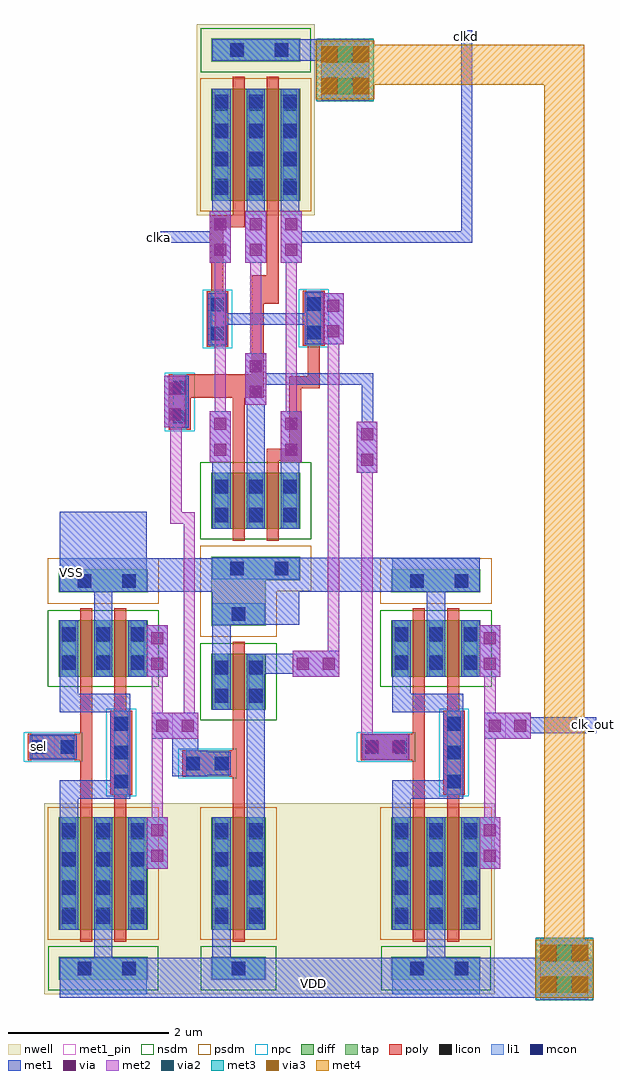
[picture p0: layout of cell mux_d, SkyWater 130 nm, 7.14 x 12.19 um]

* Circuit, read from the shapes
.subckt mux_d VDD VSS clk_out clka clkd sel
XM1 VSS sel n1 VSS sky130_fd_pr__nfet_01v8 w=0.7 l=0.15
XM2 buf_9/vout n1 VSS VSS sky130_fd_pr__nfet_01v8 w=0.7 l=0.15
XM3 n2 buf_9/vout VSS VSS sky130_fd_pr__nfet_01v8 w=0.7 l=0.15
XM4 buf_10/vin buf_9/vout clka VSS sky130_fd_pr__nfet_01v8 w=0.7 l=0.15
XM5 clkd n2 buf_10/vin VSS sky130_fd_pr__nfet_01v8 w=0.7 l=0.15
XM6 VSS buf_10/vin n3 VSS sky130_fd_pr__nfet_01v8 w=0.7 l=0.15
XM7 clk_out n3 VSS VSS sky130_fd_pr__nfet_01v8 w=0.7 l=0.15
XM8 VDD sel n1 VDD sky130_fd_pr__pfet_01v8 w=1.4 l=0.15
XM9 buf_9/vout n1 VDD VDD sky130_fd_pr__pfet_01v8 w=1.4 l=0.15
XM10 n2 buf_9/vout VDD VDD sky130_fd_pr__pfet_01v8 w=1.4 l=0.15
XM11 buf_10/vin n2 clka VDD sky130_fd_pr__pfet_01v8 w=1.4 l=0.15
XM12 clkd buf_9/vout buf_10/vin VDD sky130_fd_pr__pfet_01v8 w=1.4 l=0.15
XM13 VDD buf_10/vin n3 VDD sky130_fd_pr__pfet_01v8 w=1.4 l=0.15
XM14 clk_out n3 VDD VDD sky130_fd_pr__pfet_01v8 w=1.4 l=0.15
.ends

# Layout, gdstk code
from math import pi, radians
import gdstk
lib = gdstk.Library(unit=1e-6, precision=1e-09)
def R(c, l, rs):  # rectangles x0, y0, x1, y1
    for r in rs: c.add(gdstk.rectangle(r[:2], r[2:], *l))
def A(c, l, x, y, w, h, nx, ny, dx, dy):  # array of equal rectangles
    R(c, l, [(x+i*dx, y+j*dy, x+i*dx+w, y+j*dy+h) for i in range(nx) for j in range(ny)])
nwell = (64, 20)
diff = (65, 20)
tap = (65, 44)
poly = (66, 20)
licon = (66, 44)
li1 = (67, 20)
mcon = (67, 44)
met1_pin = (68, 16)
met1 = (68, 20)
via = (68, 44)
met2 = (69, 20)
via2 = (69, 44)
met3 = (70, 20)
via3 = (70, 44)
met4 = (71, 20)
nsdm = (93, 44)
psdm = (94, 20)
npc = (95, 20)

polyconn_cdns_7957030867 = lib.new_cell('polyConn_CDNS_7957030867023')
R(polyconn_cdns_7957030867, poly, [(-0.315,-0.165,0.315,0.165)])
R(polyconn_cdns_7957030867, licon, [(-0.265,-0.085,-0.095,0.085), (0.095,-0.085,0.265,0.085)])
R(polyconn_cdns_7957030867, li1, [(-0.265,-0.165,0.265,0.165)])
R(polyconn_cdns_7957030867, mcon, [(-0.265,-0.085,-0.095,0.085), (0.095,-0.085,0.265,0.085)])
R(polyconn_cdns_7957030867, met1, [(-0.295,-0.145,0.295,0.145)])
R(polyconn_cdns_7957030867, npc, [(-0.365,-0.185,0.365,0.185)])

m1m2_c_cdns_795703086702 = lib.new_cell('M1M2_C_CDNS_7957030867026')
R(m1m2_c_cdns_795703086702, met1, [(-0.3,-0.385,0.3,0.385)])
R(m1m2_c_cdns_795703086702, via, [(-0.235,-0.235,-0.085,-0.085), (0.085,-0.235,0.235,-0.085), (-0.235,0.085,-0.085,0.235), (0.085,0.085,0.235,0.235)])
R(m1m2_c_cdns_795703086702, met2, [(-0.3,-0.385,0.3,0.385)])

nfet_01v8_cdns_795703086 = lib.new_cell('nfet_01v8_CDNS_7957030867024')
R(nfet_01v8_cdns_795703086, diff, [(-0.265,0,0,0.7), (0,0,0.15,0.7), (0.15,0,0.415,0.7)])
R(nfet_01v8_cdns_795703086, tap, [(-0.265,-0.64,0.415,-0.35)])
R(nfet_01v8_cdns_795703086, poly, [(0,-0.15,0.15,-0.095), (0,-0.095,0.15,0), (0,0,0.15,0.7), (0,0.7,0.15,0.795), (0,0.795,0.15,0.85)])
R(nfet_01v8_cdns_795703086, licon, [(-0.01,-0.58,0.16,-0.41), (-0.225,0.095,-0.055,0.265), (0.205,0.095,0.375,0.265), (-0.225,0.435,-0.055,0.605), (0.205,0.435,0.375,0.605)])
R(nfet_01v8_cdns_795703086, li1, [(-0.255,-0.63,0.405,-0.36), (-0.225,0,-0.055,0.7), (0.205,0,0.375,0.7)])
R(nfet_01v8_cdns_795703086, mcon, [(-0.01,-0.58,0.16,-0.41), (-0.225,0.085,-0.055,0.255), (0.205,0.085,0.375,0.255), (-0.225,0.445,-0.055,0.615), (0.205,0.445,0.375,0.615)])
R(nfet_01v8_cdns_795703086, met1, [(-0.255,-0.63,0.405,-0.36), (-0.255,0,-0.025,0.7), (0.175,0,0.405,0.7)])
R(nfet_01v8_cdns_795703086, nsdm, [(-0.405,-0.13,0.555,0.83)])
R(nfet_01v8_cdns_795703086, psdm, [(-0.405,-0.78,0.555,-0.21)])

pfet_01v8_cdns_795703086 = lib.new_cell('pfet_01v8_CDNS_7957030867028')
R(pfet_01v8_cdns_795703086, nwell, [(-0.235,-0.18,0.595,2.21)])
R(pfet_01v8_cdns_795703086, diff, [(-0.055,0,0,1.4), (0,0,0.15,1.4), (0.15,0,0.415,1.4)])
R(pfet_01v8_cdns_795703086, tap, [(-0.055,1.74,0.415,2.03)])
R(pfet_01v8_cdns_795703086, poly, [(0,-0.15,0.15,-0.095), (0,-0.095,0.15,0), (0,0,0.15,1.4), (0,1.4,0.15,1.495), (0,1.495,0.15,1.55)])
A(pfet_01v8_cdns_795703086, licon, 0.205, 0.105, 0.17, 0.17, 1, 4, 0, 0.34)
R(pfet_01v8_cdns_795703086, licon, [(0.095,1.8,0.265,1.97)])
R(pfet_01v8_cdns_795703086, li1, [(0.205,0,0.375,1.4), (-0.045,1.75,0.405,2.02)])
A(pfet_01v8_cdns_795703086, mcon, 0.205, 0.075, 0.17, 0.17, 1, 4, 0, 0.36)
R(pfet_01v8_cdns_795703086, mcon, [(0.095,1.8,0.265,1.97)])
R(pfet_01v8_cdns_795703086, met1, [(0.175,0,0.405,1.4), (-0.045,1.75,0.405,2.02)])
R(pfet_01v8_cdns_795703086, nsdm, [(-0.185,1.61,0.545,2.16)])
R(pfet_01v8_cdns_795703086, psdm, [(-0.065,-0.13,0.555,1.53)])

c_pfet_01v8_cdns_795703086 = lib.new_cell('pfet_01v8_CDNS_7957030867025')
R(c_pfet_01v8_cdns_795703086, nwell, [(-0.445,-0.18,0.595,2.21)])
R(c_pfet_01v8_cdns_795703086, diff, [(-0.265,0,0,1.4), (0,0,0.15,1.4), (0.15,0,0.415,1.4)])
R(c_pfet_01v8_cdns_795703086, tap, [(-0.265,1.74,0.415,2.03)])
R(c_pfet_01v8_cdns_795703086, poly, [(0,-0.15,0.15,-0.095), (0,-0.095,0.15,0), (0,0,0.15,1.4), (0,1.4,0.15,1.495), (0,1.495,0.15,1.55)])
A(c_pfet_01v8_cdns_795703086, licon, -0.225, 0.105, 0.17, 0.17, 1, 4, 0, 0.34)
A(c_pfet_01v8_cdns_795703086, licon, 0.205, 0.105, 0.17, 0.17, 1, 4, 0, 0.34)
R(c_pfet_01v8_cdns_795703086, licon, [(-0.01,1.8,0.16,1.97)])
R(c_pfet_01v8_cdns_795703086, li1, [(-0.225,0,-0.055,1.4), (0.205,0,0.375,1.4), (-0.255,1.75,0.405,2.02)])
A(c_pfet_01v8_cdns_795703086, mcon, -0.225, 0.075, 0.17, 0.17, 1, 4, 0, 0.36)
A(c_pfet_01v8_cdns_795703086, mcon, 0.205, 0.075, 0.17, 0.17, 1, 4, 0, 0.36)
R(c_pfet_01v8_cdns_795703086, mcon, [(-0.01,1.8,0.16,1.97)])
R(c_pfet_01v8_cdns_795703086, met1, [(-0.255,0,-0.025,1.4), (0.175,0,0.405,1.4), (-0.255,1.75,0.405,2.02)])
R(c_pfet_01v8_cdns_795703086, nsdm, [(-0.395,1.61,0.545,2.16)])
R(c_pfet_01v8_cdns_795703086, psdm, [(-0.405,-0.13,0.555,1.53)])

m1m2_c_cdns_795703086708 = lib.new_cell('M1M2_C_CDNS_7957030867088')
R(m1m2_c_cdns_795703086708, met1, [(-0.13,-0.32,0.13,0.32)])
R(m1m2_c_cdns_795703086708, via, [(-0.075,-0.235,0.075,-0.085), (-0.075,0.085,0.075,0.235)])
R(m1m2_c_cdns_795703086708, met2, [(-0.13,-0.32,0.13,0.32)])

m1m2_c_cdns_795703086701 = lib.new_cell('M1M2_C_CDNS_79570308670118')
R(m1m2_c_cdns_795703086701, met1, [(-0.29,-0.16,0.29,0.16)])
R(m1m2_c_cdns_795703086701, via, [(-0.235,-0.075,-0.085,0.075), (0.085,-0.075,0.235,0.075)])
R(m1m2_c_cdns_795703086701, met2, [(-0.29,-0.16,0.29,0.16)])

c_polyconn_cdns_7957030867 = lib.new_cell('polyConn_CDNS_7957030867026')
R(c_polyconn_cdns_7957030867, poly, [(-0.135,-0.525,0.135,0.525)])
A(c_polyconn_cdns_7957030867, licon, -0.085, -0.445, 0.17, 0.17, 1, 3, 0, 0.36)
R(c_polyconn_cdns_7957030867, li1, [(-0.085,-0.525,0.085,0.525)])
A(c_polyconn_cdns_7957030867, mcon, -0.085, -0.445, 0.17, 0.17, 1, 3, 0, 0.36)
R(c_polyconn_cdns_7957030867, met1, [(-0.115,-0.505,0.115,0.505)])
R(c_polyconn_cdns_7957030867, npc, [(-0.185,-0.545,0.185,0.545)])

c_nfet_01v8_cdns_795703086 = lib.new_cell('nfet_01v8_CDNS_7957030867030')
R(c_nfet_01v8_cdns_795703086, diff, [(-0.225,0,0,0.7), (0,0,0.15,0.7), (0.15,0,0.415,0.7)])
R(c_nfet_01v8_cdns_795703086, tap, [(-0.225,-0.64,0.415,-0.35)])
R(c_nfet_01v8_cdns_795703086, poly, [(0,-0.15,0.15,-0.095), (0,-0.095,0.15,0), (0,0,0.15,0.7), (0,0.7,0.15,0.795), (0,0.795,0.15,0.85)])
R(c_nfet_01v8_cdns_795703086, licon, [(0.01,-0.58,0.18,-0.41), (-0.225,0.095,-0.055,0.265), (0.205,0.095,0.375,0.265), (-0.225,0.435,-0.055,0.605), (0.205,0.435,0.375,0.605)])
R(c_nfet_01v8_cdns_795703086, li1, [(-0.215,-0.63,0.405,-0.36), (-0.225,0,-0.055,0.7), (0.205,0,0.375,0.7)])
R(c_nfet_01v8_cdns_795703086, mcon, [(0.01,-0.58,0.18,-0.41), (-0.225,0.085,-0.055,0.255), (0.205,0.085,0.375,0.255), (-0.225,0.445,-0.055,0.615), (0.205,0.445,0.375,0.615)])
R(c_nfet_01v8_cdns_795703086, met1, [(-0.215,-0.63,0.405,-0.36), (-0.255,0,-0.025,0.7), (0.175,0,0.405,0.7)])
R(c_nfet_01v8_cdns_795703086, nsdm, [(-0.235,-0.13,0.555,0.83)])
R(c_nfet_01v8_cdns_795703086, psdm, [(-0.365,-0.78,0.555,-0.21)])

c_pfet_01v8_cdns_795703086_ = lib.new_cell('pfet_01v8_CDNS_7957030867029')
R(c_pfet_01v8_cdns_795703086_, nwell, [(-0.405,-0.18,0.595,2.21)])
R(c_pfet_01v8_cdns_795703086_, diff, [(-0.225,0,0,1.4), (0,0,0.15,1.4), (0.15,0,0.415,1.4)])
R(c_pfet_01v8_cdns_795703086_, tap, [(-0.225,1.74,0.415,2.03)])
R(c_pfet_01v8_cdns_795703086_, poly, [(0,-0.15,0.15,-0.095), (0,-0.095,0.15,0), (0,0,0.15,1.4), (0,1.4,0.15,1.495), (0,1.495,0.15,1.55)])
A(c_pfet_01v8_cdns_795703086_, licon, -0.225, 0.105, 0.17, 0.17, 1, 4, 0, 0.34)
A(c_pfet_01v8_cdns_795703086_, licon, 0.205, 0.105, 0.17, 0.17, 1, 4, 0, 0.34)
R(c_pfet_01v8_cdns_795703086_, licon, [(0.01,1.8,0.18,1.97)])
R(c_pfet_01v8_cdns_795703086_, li1, [(-0.225,0,-0.055,1.4), (0.205,0,0.375,1.4), (-0.215,1.75,0.405,2.02)])
A(c_pfet_01v8_cdns_795703086_, mcon, -0.225, 0.075, 0.17, 0.17, 1, 4, 0, 0.36)
A(c_pfet_01v8_cdns_795703086_, mcon, 0.205, 0.075, 0.17, 0.17, 1, 4, 0, 0.36)
R(c_pfet_01v8_cdns_795703086_, mcon, [(0.01,1.8,0.18,1.97)])
R(c_pfet_01v8_cdns_795703086_, met1, [(-0.255,0,-0.025,1.4), (0.175,0,0.405,1.4), (-0.215,1.75,0.405,2.02)])
R(c_pfet_01v8_cdns_795703086_, nsdm, [(-0.355,1.61,0.545,2.16)])
R(c_pfet_01v8_cdns_795703086_, psdm, [(-0.235,-0.13,0.555,1.53)])

c_nfet_01v8_cdns_795703086_ = lib.new_cell('nfet_01v8_CDNS_7957030867027')
R(c_nfet_01v8_cdns_795703086_, diff, [(-0.055,0,0,0.7), (0,0,0.15,0.7), (0.15,0,0.415,0.7)])
R(c_nfet_01v8_cdns_795703086_, tap, [(-0.055,-0.64,0.415,-0.35)])
R(c_nfet_01v8_cdns_795703086_, poly, [(0,-0.15,0.15,-0.095), (0,-0.095,0.15,0), (0,0,0.15,0.7), (0,0.7,0.15,0.795), (0,0.795,0.15,0.85)])
R(c_nfet_01v8_cdns_795703086_, licon, [(0.095,-0.58,0.265,-0.41), (0.205,0.095,0.375,0.265), (0.205,0.435,0.375,0.605)])
R(c_nfet_01v8_cdns_795703086_, li1, [(-0.045,-0.63,0.405,-0.36), (0.205,0,0.375,0.7)])
R(c_nfet_01v8_cdns_795703086_, mcon, [(0.095,-0.58,0.265,-0.41), (0.205,0.085,0.375,0.255), (0.205,0.445,0.375,0.615)])
R(c_nfet_01v8_cdns_795703086_, met1, [(-0.045,-0.63,0.405,-0.36), (0.175,0,0.405,0.7)])
R(c_nfet_01v8_cdns_795703086_, nsdm, [(-0.065,-0.13,0.555,0.83)])
R(c_nfet_01v8_cdns_795703086_, psdm, [(-0.195,-0.78,0.555,-0.21)])

buf = lib.new_cell('buf')
R(buf, poly, [(1.555,-3.54,1.58,-3.21)])
R(buf, li1, [(1.32,-5.735,2.41,-5.585), (1.94,-5.585,1.96,-5.315), (1.94,-0.745,1.96,-0.475), (1.32,-0.475,2.41,-0.285)])
R(buf, met1_pin, [(1.32,-5.735,2.41,-5.315), (2.73,-3.8,3.05,-3.48), (0.945,-3.52,1.235,-3.23), (1.32,-0.745,2.41,-0.285)])
R(buf, met1, [(1.32,-5.735,2.41,-5.585), (1.94,-5.585,1.96,-5.315), (1.955,-3.81,1.975,-2.8), (1.2,-3.52,1.305,-3.45), (1.2,-3.45,1.395,-3.3), (1.2,-3.3,1.305,-3.23), (1.94,-0.745,1.96,-0.475), (1.32,-0.475,2.41,-0.285)])
buf.add(gdstk.FlexPath([(2.54,-2.175),(2.54,-4.395)], 0.14, ends=(0, 0.07), simple_path=True, layer=69, datatype=20))  # met2
buf.add(gdstk.FlexPath([(2.54,-4.395),(2.48,-4.395)], 0.14, ends=(0.07, 0), simple_path=True, layer=69, datatype=20))  # met2
buf.add(gdstk.FlexPath([(2.295,-4.53),(2.295,-4.82)], 0.23, ends=(0.115, 0), simple_path=True, layer=68, datatype=20))  # met1
buf.add(gdstk.FlexPath([(2.31,-4.53),(2.295,-4.53)], 0.23, ends=(0, 0.115), simple_path=True, layer=68, datatype=20))  # met1
buf.add(gdstk.FlexPath([(1.435,-2.495),(1.435,-2.845)], 0.23, ends=(0, 0.115), simple_path=True, layer=68, datatype=20))  # met1
buf.add(gdstk.FlexPath([(1.865,-5.375),(1.865,-5.735)], 0.23, ends="flush", simple_path=True, layer=68, datatype=20))  # met1
buf.add(gdstk.FlexPath([(1.865,-1.095),(1.865,-0.665)], 0.23, ends=(0, 0.115), simple_path=True, layer=68, datatype=20))  # met1
buf.add(gdstk.FlexPath([(2.205,-3.925),(1.435,-3.925)], 0.23, ends=(0, 0.115), simple_path=True, layer=68, datatype=20))  # met1
buf.add(gdstk.FlexPath([(1.865,-0.665),(1.845,-0.665)], 0.23, ends=(0.115, 0), simple_path=True, layer=68, datatype=20))  # met1
buf.add(gdstk.FlexPath([(1.435,-4.82),(1.435,-4.53)], 0.23, ends=(0, 0.075), simple_path=True, layer=68, datatype=20))  # met1
buf.add(gdstk.FlexPath([(1.435,-2.845),(2.205,-2.845)], 0.23, ends=(0.115, 0), simple_path=True, layer=68, datatype=20))  # met1
buf.add(gdstk.FlexPath([(1.865,-4.955),(1.865,-5.585)], 0.23, ends="flush", simple_path=True, layer=68, datatype=20))  # met1
buf.add(gdstk.FlexPath([(1.435,-3.925),(1.435,-4.255)], 0.23, ends=(0.115, 0), simple_path=True, layer=68, datatype=20))  # met1
buf.add(gdstk.FlexPath([(1.65,-4.535),(1.65,-2.645)], 0.15, ends="flush", simple_path=True, layer=66, datatype=20))  # poly
buf.add(gdstk.FlexPath([(2.08,-2.645),(2.08,-4.535)], 0.15, ends="flush", simple_path=True, layer=66, datatype=20))  # poly
buf.add(gdstk.Reference(m1m2_c_cdns_795703086708, (2.54,-4.575)))
buf.add(gdstk.Reference(m1m2_c_cdns_795703086708, (2.54,-2.175)))
buf.add(gdstk.Reference(m1m2_c_cdns_795703086701, (2.76,-3.64)))
buf.add(gdstk.Reference(c_polyconn_cdns_7957030867, (2.09,-3.305)))
buf.add(gdstk.Reference(polyconn_cdns_7957030867, (1.24,-3.375)))
buf.add(gdstk.Reference(c_nfet_01v8_cdns_795703086, (1.725,-4.955), rotation=pi, x_reflection=True))
buf.add(gdstk.Reference(c_pfet_01v8_cdns_795703086_, (1.725,-2.495), rotation=pi, x_reflection=True))
buf.add(gdstk.Reference(pfet_01v8_cdns_795703086, (2.005,-2.495)))
buf.add(gdstk.Reference(c_nfet_01v8_cdns_795703086_, (2.005,-4.955)))
buf.add(gdstk.Label('vin', (1.015,-3.46), layer=68, texttype=16))
buf.add(gdstk.Label('vdd', (1.845,-0.6), layer=68, texttype=16))
buf.add(gdstk.Label('vout', (2.805,-3.725), layer=68, texttype=16))
buf.add(gdstk.Label('vss', (1.86,-5.6), layer=68, texttype=16))

c_polyconn_cdns_7957030867_ = lib.new_cell('polyConn_CDNS_7957030867022')
R(c_polyconn_cdns_7957030867_, poly, [(-0.135,-0.345,0.135,0.345)])
R(c_polyconn_cdns_7957030867_, licon, [(-0.085,-0.265,0.085,-0.095), (-0.085,0.095,0.085,0.265)])
R(c_polyconn_cdns_7957030867_, li1, [(-0.085,-0.345,0.085,0.345)])
R(c_polyconn_cdns_7957030867_, mcon, [(-0.085,-0.265,0.085,-0.095), (-0.085,0.095,0.085,0.265)])
R(c_polyconn_cdns_7957030867_, met1, [(-0.115,-0.325,0.115,0.325)])
R(c_polyconn_cdns_7957030867_, npc, [(-0.185,-0.365,0.185,0.365)])

m2m3_c_cdns_795703086707 = lib.new_cell('M2M3_C_CDNS_795703086707')
R(m2m3_c_cdns_795703086707, met2, [(-0.3,-0.385,0.3,0.385)])
R(m2m3_c_cdns_795703086707, via2, [(-0.1,-0.3,0.1,-0.1), (-0.1,0.1,0.1,0.3)])
R(m2m3_c_cdns_795703086707, met3, [(-0.36,-0.39,0.36,0.39)])

m3m4_c_cdns_795703086700 = lib.new_cell('M3M4_C_CDNS_795703086700')
R(m3m4_c_cdns_795703086700, met3, [(-0.36,-0.39,0.36,0.39)])
R(m3m4_c_cdns_795703086700, via3, [(-0.3,-0.3,-0.1,-0.1), (0.1,-0.3,0.3,-0.1), (-0.3,0.1,-0.1,0.3), (0.1,0.1,0.3,0.3)])
R(m3m4_c_cdns_795703086700, met4, [(-0.365,-0.365,0.365,0.365)])

mux_d = lib.new_cell('mux_d')
R(mux_d, nwell, [(2.55,-11.71,2.985,-9.32), (4.025,-11.71,5.235,-9.32)])
R(mux_d, tap, [(3.165,-6.815,3.845,-6.535)])
R(mux_d, poly, [(2.905,-4.26,3.82,-4.115), (3.67,-2.935,3.86,-2.73)])
R(mux_d, li1, [(3.175,-6.525,4.265,-6.255), (3.175,-0.05,4.265,0.22)])
R(mux_d, met1_pin, [(1.27,-11.755,7.94,-11.255), (0.9,-8.765,1.21,-8.475), (7.77,-8.45,7.97,-8.25), (1.27,-6.68,2.36,-5.68), (2.445,-2.32,2.585,-2.18), (6.285,0.19,6.425,0.33)])
R(mux_d, met1, [(1.27,-11.755,7.94,-11.255), (3.175,-7.095,4.265,-6.255), (1.27,-6.68,2.36,-5.68), (2.36,-6.68,3.175,-6.26), (4.265,-6.68,6.515,-6.255), (3.175,-6.525,4.265,-6.255), (3.175,-0.05,4.265,0.22)])
R(mux_d, psdm, [(3.025,-7.245,3.985,-6.675), (3.025,-6.675,4.415,-6.105)])
mux_d.add(gdstk.FlexPath([(7.575,-0.1),(7.575,-11.39)], 0.5, ends=(0.25, 0), simple_path=True, layer=71, datatype=20))  # met4
mux_d.add(gdstk.FlexPath([(4.835,-0.165),(4.835,-0.1)], 0.3, ends=(0, 0.25), simple_path=True, layer=71, datatype=20))  # met4
mux_d.add(gdstk.FlexPath([(4.835,-0.1),(7.575,-0.1)], 0.5, ends=(0.15, 0.25), simple_path=True, layer=71, datatype=20))  # met4
mux_d.add(gdstk.FlexPath([(3.275,-2.25),(3.275,-4.745)], 0.14, ends="flush", simple_path=True, layer=69, datatype=20))  # met2
mux_d.add(gdstk.FlexPath([(3.72,-2.25),(3.72,-4.025)], 0.14, ends="flush", simple_path=True, layer=69, datatype=20))  # met2
mux_d.add(gdstk.FlexPath([(4.165,-4.745),(4.165,-2.25)], 0.14, ends="flush", simple_path=True, layer=69, datatype=20))  # met2
mux_d.add(gdstk.FlexPath([(4.69,-3.27),(4.69,-7.545)], 0.14, ends="flush", simple_path=True, layer=69, datatype=20))  # met2
mux_d.add(gdstk.FlexPath([(5.11,-4.875),(5.11,-8.555)], 0.14, ends=(0, 0.07), simple_path=True, layer=69, datatype=20))  # met2
mux_d.add(gdstk.FlexPath([(5.11,-8.555),(5.115,-8.555)], 0.14, ends=(0.07, 0), simple_path=True, layer=69, datatype=20))  # met2
mux_d.add(gdstk.FlexPath([(5.11,-8.555),(5.11,-8.62)], 0.14, ends="extended", simple_path=True, layer=69, datatype=20))  # met2
mux_d.add(gdstk.FlexPath([(5.11,-8.62),(5.34,-8.62)], 0.14, ends=(0.07, 0), simple_path=True, layer=69, datatype=20))  # met2
mux_d.add(gdstk.FlexPath([(2.89,-8.18),(2.89,-5.76)], 0.14, ends=(0.325, 0.07), simple_path=True, layer=69, datatype=20))  # met2
mux_d.add(gdstk.FlexPath([(2.725,-5.76),(2.725,-4.305)], 0.14, ends="extended", simple_path=True, layer=69, datatype=20))  # met2
mux_d.add(gdstk.FlexPath([(2.89,-5.76),(2.725,-5.76)], 0.14, ends="extended", simple_path=True, layer=69, datatype=20))  # met2
mux_d.add(gdstk.FlexPath([(3.29,-10.895),(3.29,-11.255)], 0.23, ends="flush", simple_path=True, layer=68, datatype=20))  # met1
mux_d.add(gdstk.FlexPath([(4.15,-5.195),(4.15,-4.745)], 0.23, ends=(0, 0.115), simple_path=True, layer=68, datatype=20))  # met1
mux_d.add(gdstk.FlexPath([(3.275,-4.745),(3.29,-4.745)], 0.23, ends=(0, 0.115), simple_path=True, layer=68, datatype=20))  # met1
mux_d.add(gdstk.FlexPath([(3.72,-4.025),(3.72,-5.195)], 0.23, ends=(0.07, 0), simple_path=True, layer=68, datatype=20))  # met1
mux_d.add(gdstk.FlexPath([(4.15,-4.745),(4.165,-4.745)], 0.23, ends=(0.115, 0), simple_path=True, layer=68, datatype=20))  # met1
mux_d.add(gdstk.FlexPath([(4.15,-2.25),(4.165,-2.25)], 0.23, ends=(0.115, 0), simple_path=True, layer=68, datatype=20))  # met1
mux_d.add(gdstk.FlexPath([(3.72,-1.8),(3.72,-2.25)], 0.23, ends="flush", simple_path=True, layer=68, datatype=20))  # met1
mux_d.add(gdstk.FlexPath([(3.24,-3.37),(3.24,-3.115)], 0.23, ends=(0.07, 0), simple_path=True, layer=68, datatype=20))  # met1
mux_d.add(gdstk.FlexPath([(3.72,-4.025),(5.115,-4.025)], 0.14, ends=(0, 0.07), simple_path=True, layer=68, datatype=20))  # met1
mux_d.add(gdstk.FlexPath([(5.115,-4.025),(5.115,-4.875)], 0.14, ends="extended", simple_path=True, layer=68, datatype=20))  # met1
mux_d.add(gdstk.FlexPath([(3.24,-3.275),(4.445,-3.275)], 0.14, ends=(0, 0.07), simple_path=True, layer=68, datatype=20))  # met1
mux_d.add(gdstk.FlexPath([(6.835,-8.35),(7.97,-8.35)], 0.2, ends="flush", simple_path=True, layer=68, datatype=20))  # met1
mux_d.add(gdstk.FlexPath([(3.275,-2.25),(2.445,-2.25)], 0.14, ends="flush", simple_path=True, layer=68, datatype=20))  # met1
mux_d.add(gdstk.FlexPath([(6.355,-2.25),(6.355,0.33)], 0.14, ends=(0.07, 0), simple_path=True, layer=68, datatype=20))  # met1
mux_d.add(gdstk.FlexPath([(3.29,-4.745),(3.29,-5.195)], 0.23, ends=(0.115, 0), simple_path=True, layer=68, datatype=20))  # met1
mux_d.add(gdstk.FlexPath([(4.165,-2.25),(6.355,-2.25)], 0.14, ends=(0, 0.07), simple_path=True, layer=68, datatype=20))  # met1
mux_d.add(gdstk.FlexPath([(5.115,-4.875),(5.11,-4.875)], 0.14, ends=(0.07, 0), simple_path=True, layer=68, datatype=20))  # met1
mux_d.add(gdstk.FlexPath([(4.265,0.085),(4.835,0.085)], 0.27, ends=(0, 0.135), simple_path=True, layer=68, datatype=20))  # met1
mux_d.add(gdstk.FlexPath([(3.29,-2.25),(3.275,-2.25)], 0.23, ends=(0.115, 0), simple_path=True, layer=68, datatype=20))  # met1
mux_d.add(gdstk.FlexPath([(3.72,-7.875),(3.72,-10.18)], 0.23, ends=(0, 0.115), simple_path=True, layer=68, datatype=20))  # met1
mux_d.add(gdstk.FlexPath([(3.29,-7.455),(3.29,-7.095)], 0.23, ends="flush", simple_path=True, layer=68, datatype=20))  # met1
mux_d.add(gdstk.FlexPath([(3.29,-1.8),(3.29,-2.25)], 0.23, ends=(0, 0.115), simple_path=True, layer=68, datatype=20))  # met1
mux_d.add(gdstk.FlexPath([(4.15,-1.8),(4.15,-2.25)], 0.23, ends=(0, 0.115), simple_path=True, layer=68, datatype=20))  # met1
mux_d.add(gdstk.FlexPath([(2.84,-8.515),(2.84,-8.825)], 0.32, ends=(0, 0.16), simple_path=True, layer=68, datatype=20))  # met1
mux_d.add(gdstk.FlexPath([(4.835,0.085),(4.835,-0.165)], 0.27, ends=(0.135, 0), simple_path=True, layer=68, datatype=20))  # met1
mux_d.add(gdstk.FlexPath([(3.72,-10.18),(3.835,-10.18)], 0.23, ends=(0.115, 0), simple_path=True, layer=68, datatype=20))  # met1
mux_d.add(gdstk.FlexPath([(4.445,-3.275),(4.445,-3.265)], 0.14, ends=(0.07, 0), simple_path=True, layer=68, datatype=20))  # met1
mux_d.add(gdstk.FlexPath([(4.47,-7.58),(3.605,-7.58)], 0.25, ends="flush", simple_path=True, layer=68, datatype=20))  # met1
mux_d.add(gdstk.FlexPath([(2.84,-8.825),(3.115,-8.825)], 0.32, ends=(0.16, 0), simple_path=True, layer=68, datatype=20))  # met1
mux_d.add(gdstk.FlexPath([(3.505,-8.025),(3.505,-9.915)], 0.15, ends="flush", simple_path=True, layer=66, datatype=20))  # poly
mux_d.add(gdstk.FlexPath([(2.775,-4.04),(2.775,-4.31)], 0.15, ends=(0.075, 0), simple_path=True, layer=66, datatype=20))  # poly
mux_d.add(gdstk.FlexPath([(3.745,-4.04),(3.745,-3.01)], 0.15, ends="extended", simple_path=True, layer=66, datatype=20))  # poly
mux_d.add(gdstk.FlexPath([(3.745,-4.04),(2.775,-4.04)], 0.15, ends="extended", simple_path=True, layer=66, datatype=20))  # poly
mux_d.add(gdstk.FlexPath([(4.445,-4.065),(4.215,-4.065)], 0.15, ends="extended", simple_path=True, layer=66, datatype=20))  # poly
mux_d.add(gdstk.FlexPath([(3.24,-2.055),(3.24,-3.115)], 0.15, ends=(0.075, 0), simple_path=True, layer=66, datatype=20))  # poly
mux_d.add(gdstk.FlexPath([(3.505,-2.055),(3.24,-2.055)], 0.15, ends="extended", simple_path=True, layer=66, datatype=20))  # poly
mux_d.add(gdstk.FlexPath([(3.935,-4.97),(3.935,-5.045)], 0.15, ends=(0.075, 0), simple_path=True, layer=66, datatype=20))  # poly
mux_d.add(gdstk.FlexPath([(3.935,-3.01),(3.935,-1.95)], 0.15, ends=(0.075, 0), simple_path=True, layer=66, datatype=20))  # poly
mux_d.add(gdstk.FlexPath([(3.745,-3.01),(3.935,-3.01)], 0.15, ends="extended", simple_path=True, layer=66, datatype=20))  # poly
mux_d.add(gdstk.FlexPath([(4.215,-4.065),(4.215,-4.97)], 0.15, ends="extended", simple_path=True, layer=66, datatype=20))  # poly
mux_d.add(gdstk.FlexPath([(4.215,-4.97),(3.935,-4.97)], 0.15, ends="extended", simple_path=True, layer=66, datatype=20))  # poly
mux_d.add(gdstk.FlexPath([(3.505,-5.045),(3.505,-4.04)], 0.15, ends=(0, 0.075), simple_path=True, layer=66, datatype=20))  # poly
mux_d.add(gdstk.FlexPath([(4.445,-3.265),(4.445,-4.065)], 0.15, ends=(0, 0.075), simple_path=True, layer=66, datatype=20))  # poly
mux_d.add(gdstk.FlexPath([(3.505,-1.95),(3.505,-2.055)], 0.15, ends=(0, 0.075), simple_path=True, layer=66, datatype=20))  # poly
mux_d.add(gdstk.Reference(polyconn_cdns_7957030867, (3.115,-8.825)))
mux_d.add(gdstk.Reference(m1m2_c_cdns_795703086702, (7.575,-11.39)))
mux_d.add(gdstk.Reference(m1m2_c_cdns_795703086702, (4.835,-0.165)))
mux_d.add(gdstk.Reference(nfet_01v8_cdns_795703086, (3.43,-7.455), x_reflection=True))
mux_d.add(gdstk.Reference(pfet_01v8_cdns_795703086, (3.86,-1.8)))
mux_d.add(gdstk.Reference(c_pfet_01v8_cdns_795703086, (3.43,-9.5), x_reflection=True))
mux_d.add(gdstk.Reference(m1m2_c_cdns_795703086708, (3.275,-2.25), x_reflection=True))
mux_d.add(gdstk.Reference(m1m2_c_cdns_795703086708, (3.72,-2.25), x_reflection=True))
mux_d.add(gdstk.Reference(m1m2_c_cdns_795703086708, (4.165,-2.25), x_reflection=True))
mux_d.add(gdstk.Reference(buf, (-0.05,-11.995), x_reflection=True))
mux_d.add(gdstk.Reference(buf, (4.105,-11.995), x_reflection=True))
mux_d.add(gdstk.Reference(c_pfet_01v8_cdns_795703086_, (3.58,-1.8), rotation=pi, x_reflection=True))
mux_d.add(gdstk.Reference(c_nfet_01v8_cdns_795703086_, (3.86,-5.895)))
mux_d.add(gdstk.Reference(c_nfet_01v8_cdns_795703086, (3.58,-5.895), rotation=pi, x_reflection=True))
mux_d.add(gdstk.Reference(m1m2_c_cdns_795703086708, (5.11,-4.875)))
mux_d.add(gdstk.Reference(m1m2_c_cdns_795703086708, (3.275,-4.745)))
mux_d.add(gdstk.Reference(m1m2_c_cdns_795703086708, (4.165,-4.745)))
mux_d.add(gdstk.Reference(m1m2_c_cdns_795703086708, (2.71,-4.305)))
mux_d.add(gdstk.Reference(m1m2_c_cdns_795703086708, (3.72,-4.025)))
mux_d.add(gdstk.Reference(m1m2_c_cdns_795703086708, (4.69,-3.27)))
mux_d.add(gdstk.Reference(c_polyconn_cdns_7957030867_, (2.77,-4.31)))
mux_d.add(gdstk.Reference(c_polyconn_cdns_7957030867_, (3.24,-3.275)))
mux_d.add(gdstk.Reference(c_polyconn_cdns_7957030867_, (4.445,-3.265)))
mux_d.add(gdstk.Reference(m1m2_c_cdns_795703086701, (5.34,-8.62)))
mux_d.add(gdstk.Reference(m1m2_c_cdns_795703086701, (4.47,-7.58)))
mux_d.add(gdstk.Reference(m2m3_c_cdns_795703086707, (7.575,-11.39)))
mux_d.add(gdstk.Reference(m2m3_c_cdns_795703086707, (4.835,-0.165)))
mux_d.add(gdstk.Reference(m3m4_c_cdns_795703086700, (7.575,-11.39)))
mux_d.add(gdstk.Reference(m3m4_c_cdns_795703086700, (4.835,-0.165)))
mux_d.add(gdstk.Label('clka', (2.5,-2.255), layer=68, texttype=16))
mux_d.add(gdstk.Label('clkd', (6.355,0.26), layer=68, texttype=16))
mux_d.add(gdstk.Label('clk_out', (7.935,-8.345), layer=68, texttype=16))
mux_d.add(gdstk.Label('sel', (1.01,-8.615), layer=68, texttype=16))
mux_d.add(gdstk.Label('VDD', (4.44,-11.575), layer=68, texttype=16))
mux_d.add(gdstk.Label('VSS', (1.42,-6.44), layer=68, texttype=16))

lib.write_gds('mux_d.gds')
